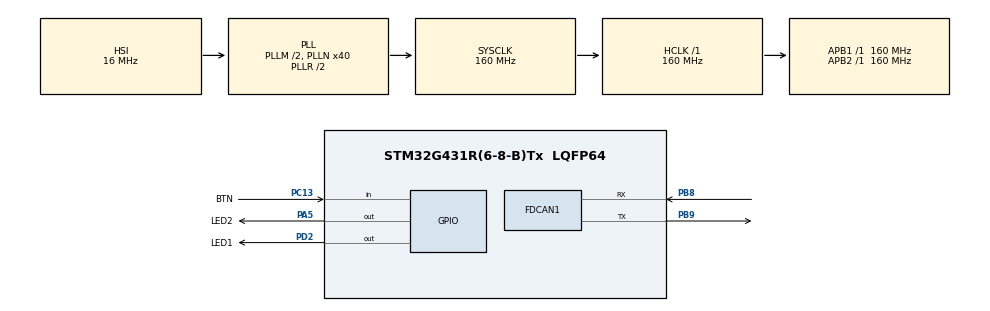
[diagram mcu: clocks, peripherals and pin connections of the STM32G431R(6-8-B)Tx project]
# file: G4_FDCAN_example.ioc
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FDCAN1.AutoRetransmission=ENABLE
FDCAN1.CalculateBaudRateNominal=2000000
FDCAN1.CalculateTimeBitNominal=500
FDCAN1.CalculateTimeQuantumNominal=6.25
FDCAN1.ClockDivider=FDCAN_CLOCK_DIV2
FDCAN1.DataSyncJumpWidth=4
FDCAN1.DataTimeSeg1=5
FDCAN1.DataTimeSeg2=4
FDCAN1.ExtFiltersNbr=1
FDCAN1.FrameFormat=FDCAN_FRAME_FD_BRS
FDCAN1.NominalPrescaler=1
FDCAN1.NominalSyncJumpWidth=24
FDCAN1.NominalTimeSeg1=55
FDCAN1.NominalTimeSeg2=24
FDCAN1.StdFiltersNbr=0
Mcu.Family=STM32G4
Mcu.Name=STM32G431R(6-8-B)Tx
Mcu.Package=LQFP64
NVIC.FDCAN1_IT0_IRQn=true\:0\:0\:false\:false\:true\:true\:true\:true
NVIC.PriorityGroup=NVIC_PRIORITYGROUP_4
NVIC.TIM7_IRQn=true\:0\:0\:false\:false\:true\:true\:true\:true
PA13.Mode=Serial_Wire
PA13.Signal=SYS_JTMS-SWDIO
PA14.Mode=Serial_Wire
PA14.Signal=SYS_JTCK-SWCLK
PA5.GPIO_Label=LED2
PA5.Signal=GPIO_Output
PB8-BOOT0.Mode=FDCAN_Activate
PB8-BOOT0.Signal=FDCAN1_RX
PB9.Mode=FDCAN_Activate
PB9.Signal=FDCAN1_TX
PC13.GPIO_Label=BTN
PC13.GPIO_PuPd=GPIO_PULLUP
PC13.Signal=GPIO_Input
PD2.GPIO_Label=LED1
PD2.Signal=GPIO_Output
ProjectManager.HeapSize=0x2000
ProjectManager.StackSize=0x4000
ProjectManager.TargetToolchain=EWARM V8
RCC.ADC12Freq_Value=160000000
RCC.AHBFreq_Value=160000000
RCC.APB1Freq_Value=160000000
RCC.APB1TimFreq_Value=160000000
RCC.APB2Freq_Value=160000000
RCC.APB2TimFreq_Value=160000000
RCC.CortexFreq_Value=160000000
RCC.EXTERNAL_CLOCK_VALUE=12288000
RCC.HCLKFreq_Value=160000000
RCC.HSE_VALUE=8000000
RCC.HSI48_VALUE=48000000
RCC.HSI_VALUE=16000000
RCC.LSE_VALUE=32768
RCC.PLLM=RCC_PLLM_DIV2
RCC.PLLN=40
RCC.SYSCLKFreq_VALUE=160000000
RCC.SYSCLKSource=RCC_SYSCLKSOURCE_PLLCLK
RCC.USBFreq_Value=160000000
RCC.VCOOutputFreq_Value=320000000
TIM7.PeriodNoDither=50000
TIM7.Prescaler=160
VP_SYS_VS_DBSignals.Mode=DisableDeadBatterySignals
VP_TIM7_VS_ClockSourceINT.Mode=Enable_Timer
board=custom

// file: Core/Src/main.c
/* USER CODE BEGIN Header */
/**
  ******************************************************************************
  * @file           : main.c
  * @brief          : Main program body
  ******************************************************************************
  * @attention
  *
  * Copyright (c) 2022 STMicroelectronics.
  * All rights reserved.
  *
  * This software is licensed under terms that can be found in the LICENSE file
  * in the root directory of this software component.
  * If no LICENSE file comes with this software, it is provided AS-IS.
  *
  ******************************************************************************
  */
/* USER CODE END Header */
#include "main.h"

/* USER CODE BEGIN Includes */
#include "libcanard/canard.h"
#include "uavcan/node/Heartbeat_1_0.h"
#include "uavcan/node/ExecuteCommand_1_1.h"
#include "uavcan/_register/List_1_0.h"
#include "uavcan/_register/Access_1_0.h"
#include "uavcan/primitive/array/Real32_1_0.h"
/* USER CODE END Includes */

FDCAN_HandleTypeDef hfdcan1;

TIM_HandleTypeDef htim7;

/* USER CODE BEGIN PV */
CanardInstance 	canard;		// This is the core structure that keeps all of the states and allocated resources of the library instance
CanardTxQueue 	queue;		// Prioritized transmission queue that keeps CAN frames destined for transmission via one CAN interface

// buffer for serialization of heartbeat message
size_t hbeat_ser_buf_size = uavcan_node_Heartbeat_1_0_SERIALIZATION_BUFFER_SIZE_BYTES_;
uint8_t hbeat_ser_buf[uavcan_node_Heartbeat_1_0_SERIALIZATION_BUFFER_SIZE_BYTES_];

CanardPortID const MSG_PORT_ID   = 1620U;

uint8_t MCU_restart = 0;
/* USER CODE END PV */

void SystemClock_Config(void);
static void MX_GPIO_Init(void);
static void MX_FDCAN1_Init(void);
static void MX_TIM7_Init(void);
/* USER CODE BEGIN PFP */

// Wrappers for using memory allocator with libcanard
static void *memAllocate(CanardInstance *const canard, const size_t amount);
static void memFree(CanardInstance *const canard, void *const pointer);

// Application-specific function prototypes
void process_canard_TX_queue(void);
void processReceivedTransfer(int32_t redundant_interface_index, CanardRxTransfer *transfer);

extern uint64_t TIM7_ITs;
CanardMicrosecond micros()
{
  return (CanardMicrosecond)(__HAL_TIM_GET_COUNTER(&htim7) + 50000u * TIM7_ITs);
}

uint8_t LengthDecoder( uint32_t length );
uint32_t LengthCoder( uint8_t length );
/* USER CODE END PFP */

int main(void)
{
  /* USER CODE BEGIN 1 */
  // UAVCAN initialization
  canard = canardInit(&memAllocate, &memFree);	// Initialization of a canard instance
  canard.node_id = 42;

  // Limit the size of the queue at 100 frames , set MTU CANARD_MTU_CAN_FD = 64 bytes
  queue = canardTxInit(	100, CANARD_MTU_CAN_FD);
  /* USER CODE END 1 */

  /* MCU Configuration--------------------------------------------------------*/

  /* Reset of all peripherals, Initializes the Flash interface and the Systick. */
  HAL_Init();

  /* Configure the system clock */
  SystemClock_Config();

  /* Initialize all configured peripherals */
  MX_GPIO_Init();
  MX_FDCAN1_Init();
  MX_TIM7_Init();
  /* USER CODE BEGIN 2 */

  FDCAN_FilterTypeDef sFilterConfig;
  sFilterConfig.IdType = FDCAN_EXTENDED_ID;
  sFilterConfig.FilterIndex = 0;
  sFilterConfig.FilterType = FDCAN_FILTER_RANGE;
  sFilterConfig.FilterConfig = FDCAN_FILTER_TO_RXFIFO0;
  sFilterConfig.FilterID1 = 0x0;
  sFilterConfig.FilterID2 = 0x1FFFFFFF;

  // Configure CAN frames filtering
  if( HAL_FDCAN_ConfigFilter(&hfdcan1, &sFilterConfig) != HAL_OK ){ Error_Handler(); }

  // Configure global filter: Filter all remote frames with STD and EXT ID. Reject non matching frames with STD ID and EXT ID
  if( HAL_FDCAN_ConfigGlobalFilter(&hfdcan1, FDCAN_REJECT, FDCAN_REJECT, FDCAN_FILTER_REMOTE, FDCAN_FILTER_REMOTE) != HAL_OK ){ Error_Handler(); }

  // Activate Rx FIFO 0 new message notification
  if( HAL_FDCAN_ActivateNotification(&hfdcan1, FDCAN_IT_RX_FIFO0_NEW_MESSAGE, 0) != HAL_OK ){ Error_Handler(); }

  // Configure and enable Tx Delay Compensation, required for BRS mode.
  if( HAL_FDCAN_ConfigTxDelayCompensation(&hfdcan1, 5, 0) != HAL_OK){ Error_Handler(); }
  if( HAL_FDCAN_EnableTxDelayCompensation(&hfdcan1) != HAL_OK){ Error_Handler(); }

    // Start FDCAN periphery
  if( HAL_FDCAN_Start(&hfdcan1) != HAL_OK ){ Error_Handler(); }

  /* USER CODE END 2 */

  /* Infinite loop */
  /* USER CODE BEGIN WHILE */
  CanardRxSubscription command_subscription;
  if( canardRxSubscribe(        &canard,
                                CanardTransferKindRequest,
                                uavcan_node_ExecuteCommand_1_1_FIXED_PORT_ID_,
                                uavcan_node_ExecuteCommand_Request_1_1_EXTENT_BYTES_,
                                CANARD_DEFAULT_TRANSFER_ID_TIMEOUT_USEC,
                                &command_subscription) != 1 ){ Error_Handler(); }

  CanardRxSubscription reg_list_subscription;
  if( canardRxSubscribe(        &canard,
                                CanardTransferKindRequest,
                                uavcan_register_List_1_0_FIXED_PORT_ID_,
                                uavcan_register_List_Request_1_0_EXTENT_BYTES_,
                                CANARD_DEFAULT_TRANSFER_ID_TIMEOUT_USEC,
                                &reg_list_subscription) != 1 ){ Error_Handler(); }

  CanardRxSubscription reg_access_subscription;
  if( canardRxSubscribe(        &canard,
                                CanardTransferKindRequest,
                                uavcan_register_Access_1_0_FIXED_PORT_ID_,
                                uavcan_register_Access_Request_1_0_EXTENT_BYTES_,
                                CANARD_DEFAULT_TRANSFER_ID_TIMEOUT_USEC,
                                &reg_access_subscription) != 1 ){ Error_Handler(); }

  CanardRxSubscription rx_message_subscription;
  if( canardRxSubscribe(        &canard,
                                CanardTransferKindMessage,
                                MSG_PORT_ID,
                                uavcan_primitive_array_Real32_1_0_EXTENT_BYTES_,
                                CANARD_DEFAULT_TRANSFER_ID_TIMEOUT_USEC,
                                &rx_message_subscription) != 1 ){ Error_Handler(); }

  static uint8_t my_message_transfer_id = 0;

  while (1)
  {
    // Create a heartbeat message
    uavcan_node_Heartbeat_1_0 test_heartbeat = {.uptime = micros()/1000000u,
                                                .health = {uavcan_node_Health_1_0_NOMINAL},
                                                .mode = {uavcan_node_Mode_1_0_OPERATIONAL}};

    // Serialize the heartbeat message
    if (uavcan_node_Heartbeat_1_0_serialize_(&test_heartbeat, hbeat_ser_buf, &hbeat_ser_buf_size) < 0)
    {
      Error_Handler();
    }

    // Create a transfer for the heartbeat message
    const CanardTransferMetadata transfer_metadata = {.priority = CanardPriorityNominal,
                                                      .transfer_kind = CanardTransferKindMessage,
                                                      .port_id = uavcan_node_Heartbeat_1_0_FIXED_PORT_ID_,
                                                      .remote_node_id = CANARD_NODE_ID_UNSET,
                                                      .transfer_id = my_message_transfer_id,};

    if(canardTxPush(&queue,               	// Call this once per redundant CAN interface (queue)
                    &canard,
                    0,     					// Zero if transmission deadline is not limited.
                    &transfer_metadata,
                    hbeat_ser_buf_size,		// Size of the message payload (see Nunavut transpiler)
                    hbeat_ser_buf) < 0 )
                    {
                      Error_Handler();
                    }

    // Block for a second before generating the next transfer
    uint32_t timestamp = HAL_GetTick();
    while( HAL_GetTick() < timestamp + 1000u )
    {
      process_canard_TX_queue();

      HAL_Delay(10);
    }

    // unreliable impelementation
    if( MCU_restart )
    {
      NVIC_SystemReset();
    }

    // Increment the transfer_id variable
    my_message_transfer_id++;

    /* USER CODE END WHILE */

  }
}

void SystemClock_Config(void)
{
  RCC_OscInitTypeDef RCC_OscInitStruct = {0};
  RCC_ClkInitTypeDef RCC_ClkInitStruct = {0};

  /** Configure the main internal regulator output voltage
  */
  HAL_PWREx_ControlVoltageScaling(PWR_REGULATOR_VOLTAGE_SCALE1_BOOST);

  /** Initializes the RCC Oscillators according to the specified parameters
  * in the RCC_OscInitTypeDef structure.
  */
  RCC_OscInitStruct.OscillatorType = RCC_OSCILLATORTYPE_HSI;
  RCC_OscInitStruct.HSIState = RCC_HSI_ON;
  RCC_OscInitStruct.HSICalibrationValue = RCC_HSICALIBRATION_DEFAULT;
  RCC_OscInitStruct.PLL.PLLState = RCC_PLL_ON;
  RCC_OscInitStruct.PLL.PLLSource = RCC_PLLSOURCE_HSI;
  RCC_OscInitStruct.PLL.PLLM = RCC_PLLM_DIV2;
  RCC_OscInitStruct.PLL.PLLN = 40;
  RCC_OscInitStruct.PLL.PLLP = RCC_PLLP_DIV2;
  RCC_OscInitStruct.PLL.PLLQ = RCC_PLLQ_DIV2;
  RCC_OscInitStruct.PLL.PLLR = RCC_PLLR_DIV2;
  if (HAL_RCC_OscConfig(&RCC_OscInitStruct) != HAL_OK)
  {
    Error_Handler();
  }

  /** Initializes the CPU, AHB and APB buses clocks
  */
  RCC_ClkInitStruct.ClockType = RCC_CLOCKTYPE_HCLK|RCC_CLOCKTYPE_SYSCLK
                              |RCC_CLOCKTYPE_PCLK1|RCC_CLOCKTYPE_PCLK2;
  RCC_ClkInitStruct.SYSCLKSource = RCC_SYSCLKSOURCE_PLLCLK;
  RCC_ClkInitStruct.AHBCLKDivider = RCC_SYSCLK_DIV1;
  RCC_ClkInitStruct.APB1CLKDivider = RCC_HCLK_DIV1;
  RCC_ClkInitStruct.APB2CLKDivider = RCC_HCLK_DIV1;

  if (HAL_RCC_ClockConfig(&RCC_ClkInitStruct, FLASH_LATENCY_4) != HAL_OK)
  {
    Error_Handler();
  }
}

static void MX_FDCAN1_Init(void)
{

  hfdcan1.Instance = FDCAN1;
  hfdcan1.Init.ClockDivider = FDCAN_CLOCK_DIV2;
  hfdcan1.Init.FrameFormat = FDCAN_FRAME_FD_BRS;
  hfdcan1.Init.Mode = FDCAN_MODE_NORMAL;
  hfdcan1.Init.AutoRetransmission = ENABLE;
  hfdcan1.Init.TransmitPause = DISABLE;
  hfdcan1.Init.ProtocolException = DISABLE;
  hfdcan1.Init.NominalPrescaler = 1;
  hfdcan1.Init.NominalSyncJumpWidth = 24;
  hfdcan1.Init.NominalTimeSeg1 = 55;
  hfdcan1.Init.NominalTimeSeg2 = 24;
  hfdcan1.Init.DataPrescaler = 1;
  hfdcan1.Init.DataSyncJumpWidth = 4;
  hfdcan1.Init.DataTimeSeg1 = 5;
  hfdcan1.Init.DataTimeSeg2 = 4;
  hfdcan1.Init.StdFiltersNbr = 0;
  hfdcan1.Init.ExtFiltersNbr = 1;
  hfdcan1.Init.TxFifoQueueMode = FDCAN_TX_FIFO_OPERATION;
  if (HAL_FDCAN_Init(&hfdcan1) != HAL_OK)
  {
    Error_Handler();
  }

}

static void MX_TIM7_Init(void)
{

  TIM_MasterConfigTypeDef sMasterConfig = {0};

  htim7.Instance = TIM7;
  htim7.Init.Prescaler = 160;
  htim7.Init.CounterMode = TIM_COUNTERMODE_UP;
  htim7.Init.Period = 50000;
  htim7.Init.AutoReloadPreload = TIM_AUTORELOAD_PRELOAD_DISABLE;
  if (HAL_TIM_Base_Init(&htim7) != HAL_OK)
  {
    Error_Handler();
  }
  sMasterConfig.MasterOutputTrigger = TIM_TRGO_RESET;
  sMasterConfig.MasterSlaveMode = TIM_MASTERSLAVEMODE_DISABLE;
  if (HAL_TIMEx_MasterConfigSynchronization(&htim7, &sMasterConfig) != HAL_OK)
  {
    Error_Handler();
  }
  /* USER CODE BEGIN TIM7_Init 2 */
  HAL_TIM_Base_Start_IT(&htim7);
  /* USER CODE END TIM7_Init 2 */

}

static void MX_GPIO_Init(void)
{
  GPIO_InitTypeDef GPIO_InitStruct = {0};

  /* GPIO Ports Clock Enable */
  __HAL_RCC_GPIOC_CLK_ENABLE();
  __HAL_RCC_GPIOA_CLK_ENABLE();
  __HAL_RCC_GPIOD_CLK_ENABLE();
  __HAL_RCC_GPIOB_CLK_ENABLE();

  /*Configure GPIO pin Output Level */
  HAL_GPIO_WritePin(LED2_GPIO_Port, LED2_Pin, GPIO_PIN_RESET);

  /*Configure GPIO pin Output Level */
  HAL_GPIO_WritePin(LED1_GPIO_Port, LED1_Pin, GPIO_PIN_RESET);

  /*Configure GPIO pin : BTN_Pin */
  GPIO_InitStruct.Pin = BTN_Pin;
  GPIO_InitStruct.Mode = GPIO_MODE_INPUT;
  GPIO_InitStruct.Pull = GPIO_PULLUP;
  HAL_GPIO_Init(BTN_GPIO_Port, &GPIO_InitStruct);

  /*Configure GPIO pin : LED2_Pin */
  GPIO_InitStruct.Pin = LED2_Pin;
  GPIO_InitStruct.Mode = GPIO_MODE_OUTPUT_PP;
  GPIO_InitStruct.Pull = GPIO_NOPULL;
  GPIO_InitStruct.Speed = GPIO_SPEED_FREQ_LOW;
  HAL_GPIO_Init(LED2_GPIO_Port, &GPIO_InitStruct);

  /*Configure GPIO pin : LED1_Pin */
  GPIO_InitStruct.Pin = LED1_Pin;
  GPIO_InitStruct.Mode = GPIO_MODE_OUTPUT_PP;
  GPIO_InitStruct.Pull = GPIO_NOPULL;
  GPIO_InitStruct.Speed = GPIO_SPEED_FREQ_LOW;
  HAL_GPIO_Init(LED1_GPIO_Port, &GPIO_InitStruct);

}

/* USER CODE BEGIN 4 */
void process_canard_TX_queue(void)
{
  // Look at top of the TX queue of individual CAN frames
  for (const CanardTxQueueItem* ti = NULL; (ti = canardTxPeek(&queue)) != NULL;)
  {
    if ((0U == ti->tx_deadline_usec) || (ti->tx_deadline_usec > micros()))  // Check the deadline.
    {
      FDCAN_TxHeaderTypeDef TxHeader;

      if (HAL_FDCAN_GetTxFifoFreeLevel(&hfdcan1) != 0)
      {
        // Add message to Tx FIFO
        TxHeader.Identifier = ti->frame.extended_can_id;
        TxHeader.IdType = FDCAN_EXTENDED_ID;
        TxHeader.TxFrameType = FDCAN_DATA_FRAME;
        TxHeader.DataLength = LengthCoder( ti->frame.payload_size );
        TxHeader.ErrorStateIndicator = FDCAN_ESI_ACTIVE;
        TxHeader.BitRateSwitch = FDCAN_BRS_ON;
        TxHeader.FDFormat = FDCAN_FD_CAN;
        TxHeader.TxEventFifoControl = FDCAN_STORE_TX_EVENTS;
        TxHeader.MessageMarker = 0x00;
        if (HAL_FDCAN_AddMessageToTxFifoQ(&hfdcan1, &TxHeader, (uint8_t *)ti->frame.payload) != HAL_OK)
        {
          Error_Handler();
        }
      }
    }
    // After the frame is transmitted or if it has timed out while waiting, pop it from the queue and deallocate:
    canard.memory_free(&canard, canardTxPop(&queue, ti));
  }
}

void HAL_FDCAN_RxFifo0Callback(FDCAN_HandleTypeDef *hfdcan, uint32_t RxFifo0ITs)
{
  FDCAN_RxHeaderTypeDef RxHeader = {0};
  uint8_t RxData[64];

  if (HAL_FDCAN_GetRxMessage(hfdcan, FDCAN_RX_FIFO0, &RxHeader, RxData) != HAL_OK){ Error_Handler(); }

  CanardFrame rxf;

  rxf.extended_can_id = (uint32_t)RxHeader.Identifier;
  rxf.payload_size = (size_t)LengthDecoder(RxHeader.DataLength);
  rxf.payload = (void*)RxData;

  CanardRxTransfer transfer;

  int8_t result = canardRxAccept(       &canard,
                                        micros(),
                                        &rxf,
                                        0,
                                        &transfer,
                                        NULL);

  if (result < 0)
  {
    // An error has occurred: either an argument is invalid or we've ran out of memory.
    // It is possible to statically prove that an out-of-memory will never occur for a given application if
    // the heap is sized correctly; for background, refer to the Robson's Proof and the documentation for O1Heap.
    // Reception of an invalid frame is NOT an error.
  }
  else if (result == 1)
  {
    processReceivedTransfer(0, &transfer);              // A transfer has been received, process it.
    canard.memory_free(&canard, transfer.payload);      // Deallocate the dynamic memory afterwards.
  }
  else
  {
    // Nothing to do.
    // The received frame is either invalid or it's a non-last frame of a multi-frame transfer.
    // Reception of an invalid frame is NOT reported as an error because it is not an error.
  }

  return ;
}

void rx_message_callback(CanardRxTransfer *transfer);
void execute_command_callback(CanardRxTransfer *transfer);
void register_list_callback(CanardRxTransfer *transfer);
void register_access_callback(CanardRxTransfer *transfer);

void processReceivedTransfer(int32_t redundant_interface_index, CanardRxTransfer *transfer)
{
  if( transfer->metadata.port_id == MSG_PORT_ID)
  {
    // process incoming real32 array
    rx_message_callback(transfer);
  }
  else if( transfer->metadata.port_id == uavcan_node_ExecuteCommand_1_1_FIXED_PORT_ID_)
  {
    // Got command request!
    execute_command_callback(transfer);
  }
  else if( transfer->metadata.port_id == uavcan_register_List_1_0_FIXED_PORT_ID_)
  {
    // Got register list request!
    register_list_callback(transfer);
  }
  else if( transfer->metadata.port_id == uavcan_register_Access_1_0_FIXED_PORT_ID_)
  {
    // Got register list request!
    register_access_callback(transfer);
  }
  else
  {
    // Received unknown completed transfer
  }

  return ;
}

void rx_message_callback(CanardRxTransfer *transfer)
{
  uavcan_primitive_array_Real32_1_0 array;
  size_t array_ser_buf_size = uavcan_primitive_array_Real32_1_0_EXTENT_BYTES_;

  if ( uavcan_primitive_array_Real32_1_0_deserialize_( &array, transfer->payload, &array_ser_buf_size) < 0 )
  {
    Error_Handler();
  }
}

void execute_command_callback(CanardRxTransfer *transfer)
{
  uavcan_node_ExecuteCommand_Request_1_1 request;
  uavcan_node_ExecuteCommand_Response_1_1 response = {0};

  size_t request_ser_buf_size = uavcan_node_ExecuteCommand_Request_1_1_EXTENT_BYTES_;

  if( uavcan_node_ExecuteCommand_Request_1_1_deserialize_(&request, transfer->payload, &request_ser_buf_size ) < 0)
  {
    Error_Handler();
  }

  if( request.command == uavcan_node_ExecuteCommand_Request_1_1_COMMAND_RESTART )
  {
    MCU_restart = 1;
    response.status = uavcan_node_ExecuteCommand_Response_1_1_STATUS_SUCCESS;
  }
  else
  {
    response.status = uavcan_node_ExecuteCommand_Response_1_1_STATUS_BAD_COMMAND;
  }

  uint8_t c_serialized[uavcan_node_ExecuteCommand_Response_1_1_SERIALIZATION_BUFFER_SIZE_BYTES_] = {0};
  size_t c_serialized_size = sizeof(c_serialized);

  if ( uavcan_node_ExecuteCommand_Response_1_1_serialize_(&response, &c_serialized[0], &c_serialized_size) < 0)
  {
    Error_Handler();
  }

  const CanardTransferMetadata transfer_metadata = {    .priority       = CanardPriorityNominal,
                                                        .transfer_kind  = CanardTransferKindResponse,
                                                        .port_id        = transfer->metadata.port_id,
                                                        .remote_node_id = transfer->metadata.remote_node_id,
                                                        .transfer_id    = transfer->metadata.transfer_id };

  int32_t debug =  canardTxPush(        &queue,               	// Call this once per redundant CAN interface (queue)
                                        &canard,
                                        0,     					// Zero if transmission deadline is not limited.
                                        &transfer_metadata,
                                        c_serialized_size,		// Size of the message payload (see Nunavut transpiler)
                                        c_serialized);
}

void register_list_callback(CanardRxTransfer *transfer)
{
  uavcan_register_List_Request_1_0 request;
  size_t request_ser_buf_size = uavcan_register_List_Request_1_0_EXTENT_BYTES_;

  if( uavcan_register_List_Request_1_0_deserialize_(&request, transfer->payload, &request_ser_buf_size ) < 0)
  {
    Error_Handler();
  }

  uavcan_register_List_Response_1_0 response = {0};

  char led1_register_name[] = "user.led1";
  char led2_register_name[] = "user.led2";

  if( request.index == 0 )
  {
    memcpy(&response.name.name.elements, led1_register_name, sizeof(led1_register_name));
    response.name.name.count = sizeof(led1_register_name);
  }
  else if( request.index == 1 )
  {
    memcpy(&response.name.name.elements, led2_register_name, sizeof(led2_register_name));
    response.name.name.count = sizeof(led2_register_name);
  }
  else
  {
    response.name.name.elements[0] = '\0';
    response.name.name.count = 0;
  }

  uint8_t c_serialized[uavcan_register_List_Response_1_0_SERIALIZATION_BUFFER_SIZE_BYTES_] = {0};
  size_t c_serialized_size = sizeof(c_serialized);

  if ( uavcan_register_List_Response_1_0_serialize_(&response, &c_serialized[0], &c_serialized_size) < 0)
  {
    Error_Handler();
  }

  const CanardTransferMetadata transfer_metadata = {    .priority       = CanardPriorityNominal,
                                                        .transfer_kind  = CanardTransferKindResponse,
                                                        .port_id        = transfer->metadata.port_id,
                                                        .remote_node_id = transfer->metadata.remote_node_id,
                                                        .transfer_id    = transfer->metadata.transfer_id };

  int32_t debug =  canardTxPush(        &queue,               	// Call this once per redundant CAN interface (queue)
                                        &canard,
                                        0,     					// Zero if transmission deadline is not limited.
                                        &transfer_metadata,
                                        c_serialized_size,		// Size of the message payload (see Nunavut transpiler)
                                        c_serialized);
}

void LED1_access_handler(uavcan_register_Value_1_0 * req_value, uavcan_register_Value_1_0 * res_value );
void LED2_access_handler(uavcan_register_Value_1_0 * req_value, uavcan_register_Value_1_0 * res_value );

void register_access_callback(CanardRxTransfer *transfer)
{
  uavcan_register_Access_Request_1_0 request;
  uavcan_register_Access_Response_1_0 response = {0};

  size_t request_ser_buf_size = uavcan_register_Access_Request_1_0_EXTENT_BYTES_;

  if( uavcan_register_Access_Request_1_0_deserialize_(&request, transfer->payload, &request_ser_buf_size ) < 0)
  {
    Error_Handler();
  }

  GPIO_TypeDef * GPIO_port = NULL;
  uint16_t GPIO_pin = 0;

  if( !strncmp( (char const *)"user.led1", (char const *)request.name.name.elements, request.name.name.count) )
  {
    LED1_access_handler(&request.value, &response.value);
  }
  else if( !strncmp( (char const *)"user.led2", (char const *)request.name.name.elements, request.name.name.count) )
  {
    LED2_access_handler(&request.value, &response.value);
  }
  else
  {
    // access to non-existent register
    response.value._tag_= 0;
  }

  response.timestamp.microsecond = micros(); // taken along with register READING
  response._mutable = 1;
  response.persistent = 0;

  uint8_t c_serialized[uavcan_register_Access_Response_1_0_SERIALIZATION_BUFFER_SIZE_BYTES_] = {0};
  size_t c_serialized_size = sizeof(c_serialized);

  if ( uavcan_register_Access_Response_1_0_serialize_(&response, &c_serialized[0], &c_serialized_size) < 0)
  {
    Error_Handler();
  }

  const CanardTransferMetadata transfer_metadata = {    .priority       = CanardPriorityNominal,
                                                        .transfer_kind  = CanardTransferKindResponse,
                                                        .port_id        = transfer->metadata.port_id,
                                                        .remote_node_id = transfer->metadata.remote_node_id,
                                                        .transfer_id    = transfer->metadata.transfer_id };

  int32_t debug =  canardTxPush(        &queue,               	// Call this once per redundant CAN interface (queue)
                                        &canard,
                                        0,     					// Zero if transmission deadline is not limited.
                                        &transfer_metadata,
                                        c_serialized_size,		// Size of the message payload (see Nunavut transpiler)
                                        c_serialized);
}

void LED1_access_handler(uavcan_register_Value_1_0 * req_value, uavcan_register_Value_1_0 * res_value )
{
  if( req_value->_tag_ != 0 ) // is it write access ?
  {
    if( req_value->integer8.value.elements[0] == 1 )
    {
      HAL_GPIO_WritePin(LED1_GPIO_Port, LED1_Pin, GPIO_PIN_SET);
    }
    else if( req_value->integer8.value.elements[0] == 0 )
    {
      HAL_GPIO_WritePin(LED1_GPIO_Port, LED1_Pin, GPIO_PIN_RESET);
    }
  }

  // return register value
  res_value->_tag_= 7;
  res_value->integer8.value.count = 1;
  res_value->integer8.value.elements[0] = HAL_GPIO_ReadPin(LED1_GPIO_Port, LED1_Pin);
}

void LED2_access_handler(uavcan_register_Value_1_0 * req_value, uavcan_register_Value_1_0 * res_value )
{
  if( req_value->_tag_ != 0 ) // is it write access ?
  {
    if( req_value->integer8.value.elements[0] == 1 )
    {
      HAL_GPIO_WritePin(LED2_GPIO_Port, LED2_Pin, GPIO_PIN_SET);
    }
    else if( req_value->integer8.value.elements[0] == 0 )
    {
      HAL_GPIO_WritePin(LED2_GPIO_Port, LED2_Pin, GPIO_PIN_RESET);
    }
  }

  // return register value
  res_value->_tag_= 7;
  res_value->integer8.value.count = 1;
  res_value->integer8.value.elements[0] = HAL_GPIO_ReadPin(LED2_GPIO_Port, LED2_Pin);
}

// allocate dynamic memory of desired size in bytes
static void *memAllocate(CanardInstance *const canard, const size_t amount)
{
  (void)canard;
  return malloc(amount);
}

// free allocated memory
static void memFree(CanardInstance *const canard, void *const pointer)
{
  (void)canard;
  free(pointer);
}

/*
  * @brief Decodes FDCAN_data_length_code into the decimal length of FDCAN message
  * @param[in]          length           FDCAN_data_length_code
  * @retval             uint8_t         Decimal message length (bytes)
*/
uint8_t LengthDecoder( uint32_t length )
{
  switch( length )
  {
    case FDCAN_DLC_BYTES_0:     return 0;
    case FDCAN_DLC_BYTES_1:     return 1;
    case FDCAN_DLC_BYTES_2:     return 2;
    case FDCAN_DLC_BYTES_3:     return 3;
    case FDCAN_DLC_BYTES_4:     return 4;
    case FDCAN_DLC_BYTES_5:     return 5;
    case FDCAN_DLC_BYTES_6:     return 6;
    case FDCAN_DLC_BYTES_7:     return 7;
    case FDCAN_DLC_BYTES_8:     return 8;
    case FDCAN_DLC_BYTES_12:    return 12;
    case FDCAN_DLC_BYTES_16:    return 16;
    case FDCAN_DLC_BYTES_20:    return 20;
    case FDCAN_DLC_BYTES_24:    return 24;
    case FDCAN_DLC_BYTES_32:    return 32;
    case FDCAN_DLC_BYTES_48:    return 48;
    case FDCAN_DLC_BYTES_64:    return 64;

    default:
      while(1); //error
  }
}

/*
  * @brief Codes decimal length of FDCAN message into the FDCAN_data_length_code
  * @param[in]          length              Decimal message length (bytes)
  * @retval             FDCAN_data_length_code        Code of required message length
*/
uint32_t LengthCoder( uint8_t length )
{
  switch( length )
  {
    case 0:     return FDCAN_DLC_BYTES_0;
    case 1:     return FDCAN_DLC_BYTES_1;
    case 2:     return FDCAN_DLC_BYTES_2;
    case 3:     return FDCAN_DLC_BYTES_3;
    case 4:     return FDCAN_DLC_BYTES_4;
    case 5:     return FDCAN_DLC_BYTES_5;
    case 6:     return FDCAN_DLC_BYTES_6;
    case 7:     return FDCAN_DLC_BYTES_7;
    case 8:     return FDCAN_DLC_BYTES_8;
    case 12:    return FDCAN_DLC_BYTES_12;
    case 16:    return FDCAN_DLC_BYTES_16;
    case 20:    return FDCAN_DLC_BYTES_20;
    case 24:    return FDCAN_DLC_BYTES_24;
    case 32:    return FDCAN_DLC_BYTES_32;
    case 48:    return FDCAN_DLC_BYTES_48;
    case 64:    return FDCAN_DLC_BYTES_64;

    default:
      while(1); //error
  }
}
/* USER CODE END 4 */

void Error_Handler(void)
{
  __disable_irq();
  while (1)
  {
  }
}
